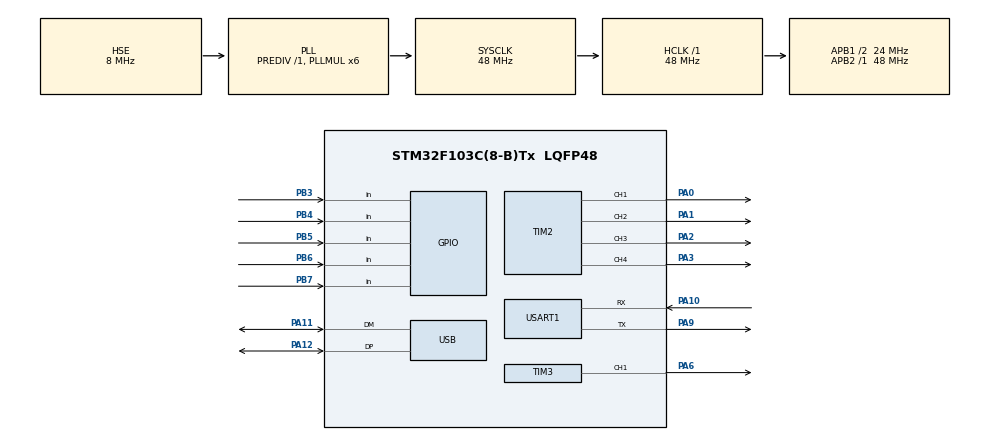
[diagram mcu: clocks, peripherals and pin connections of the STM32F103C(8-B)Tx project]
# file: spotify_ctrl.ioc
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Mcu.Family=STM32F1
Mcu.Name=STM32F103C(8-B)Tx
Mcu.Package=LQFP48
NVIC.PriorityGroup=NVIC_PRIORITYGROUP_4
NVIC.USB_LP_CAN1_RX0_IRQn=true\:0\:0\:false\:false\:true\:false\:true
PA0-WKUP.Signal=S_TIM2_CH1_ETR
PA1.Signal=S_TIM2_CH2
PA10.Mode=Asynchronous
PA10.Signal=USART1_RX
PA11.Mode=Device
PA11.Signal=USB_DM
PA12.Mode=Device
PA12.Signal=USB_DP
PA13.Mode=Serial_Wire
PA13.Signal=SYS_JTMS-SWDIO
PA14.Mode=Serial_Wire
PA14.Signal=SYS_JTCK-SWCLK
PA2.Signal=S_TIM2_CH3
PA3.Signal=S_TIM2_CH4
PA6.Signal=S_TIM3_CH1
PA9.Mode=Asynchronous
PA9.Signal=USART1_TX
PB3.Signal=GPIO_Input
PB4.Signal=GPIO_Input
PB5.Signal=GPIO_Input
PB6.Signal=GPIO_Input
PB7.Signal=GPIO_Input
PC14-OSC32_IN.Mode=LSE-External-Oscillator
PC14-OSC32_IN.Signal=RCC_OSC32_IN
PC15-OSC32_OUT.Mode=LSE-External-Oscillator
PC15-OSC32_OUT.Signal=RCC_OSC32_OUT
PD0-OSC_IN.Mode=HSE-External-Oscillator
PD0-OSC_IN.Signal=RCC_OSC_IN
PD1-OSC_OUT.Mode=HSE-External-Oscillator
PD1-OSC_OUT.Signal=RCC_OSC_OUT
ProjectManager.HeapSize=0x200
ProjectManager.StackSize=0x400
ProjectManager.TargetToolchain=STM32CubeIDE
RCC.AHBFreq_Value=48000000
RCC.APB1CLKDivider=RCC_HCLK_DIV2
RCC.APB1Freq_Value=24000000
RCC.APB1TimFreq_Value=48000000
RCC.APB2Freq_Value=48000000
RCC.APB2TimFreq_Value=48000000
RCC.HCLKFreq_Value=48000000
RCC.PLLMUL=RCC_PLL_MUL6
RCC.SYSCLKFreq_VALUE=48000000
RCC.SYSCLKSource=RCC_SYSCLKSOURCE_PLLCLK
RCC.USBFreq_Value=48000000
SH.S_TIM2_CH1_ETR.0=TIM2_CH1,PWM Generation1 CH1
SH.S_TIM2_CH2.0=TIM2_CH2,PWM Generation2 CH2
SH.S_TIM2_CH3.0=TIM2_CH3,PWM Generation3 CH3
SH.S_TIM2_CH4.0=TIM2_CH4,PWM Generation4 CH4
SH.S_TIM3_CH1.0=TIM3_CH1,PWM Generation1 CH1
TIM2.Channel-PWM\ Generation1\ CH1=TIM_CHANNEL_1
TIM2.Channel-PWM\ Generation2\ CH2=TIM_CHANNEL_2
TIM2.Channel-PWM\ Generation3\ CH3=TIM_CHANNEL_3
TIM2.Channel-PWM\ Generation4\ CH4=TIM_CHANNEL_4
TIM3.Channel-PWM\ Generation1\ CH1=TIM_CHANNEL_1
USART1.VirtualMode=VM_ASYNC
USB_DEVICE.CLASS_NAME_FS=HID
USB_DEVICE.VirtualMode=Hid
USB_DEVICE.VirtualModeFS=Hid_FS
VP_RTC_VS_RTC_Activate.Mode=RTC_Enabled
VP_RTC_VS_RTC_Calendar.Mode=RTC_Calendar
VP_TIM1_VS_ClockSourceINT.Mode=Internal
VP_TIM2_VS_ClockSourceINT.Mode=Internal
VP_USB_DEVICE_VS_USB_DEVICE_HID_FS.Mode=HID_FS
board=custom

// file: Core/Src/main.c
/* USER CODE BEGIN Header */
/**
  ******************************************************************************
  * @file           : main.c
  * @brief          : Main program body
  ******************************************************************************
  * @attention
  *
  * <h2><center>&copy; Copyright (c) 2025 STMicroelectronics.
  * All rights reserved.</center></h2>
  *
  * This software component is licensed by ST under BSD 3-Clause license,
  * the "License"; You may not use this file except in compliance with the
  * License. You may obtain a copy of the License at:
  *                        opensource.org/licenses/BSD-3-Clause
  *
  ******************************************************************************
  */
/* USER CODE END Header */

#include "main.h"
#include "usb_device.h"
#include "usbd_hid.h"
extern USBD_HandleTypeDef hUsbDeviceFS;

/* USER CODE BEGIN PD */
//LED Control
#define NUM_LEDS 5
#define MAX_DUTY 999
#define STEP_DELAY_MS 2
#define PHASE_SHIFT 200

// Pushbutton GPIO
#define BTN_PLAY_PAUSE    GPIO_PIN_3
#define BTN_NEXT          GPIO_PIN_4
#define BTN_PREV          GPIO_PIN_5
#define BTN_VOL_UP        GPIO_PIN_6
#define BTN_VOL_DOWN      GPIO_PIN_7
#define BTN_PORT          GPIOB

// Standard HID control codes
#define HID_PLAY_PAUSE    0x00CD
#define HID_NEXT          0x00B5
#define HID_PREV          0x00B6
#define HID_VOL_UP        0x00E9
#define HID_VOL_DOWN      0x00EA

/* USER CODE END PD */

RTC_HandleTypeDef hrtc;

TIM_HandleTypeDef htim1;
TIM_HandleTypeDef htim2;
TIM_HandleTypeDef htim3;

UART_HandleTypeDef huart1;

void SystemClock_Config(void);
static void MX_GPIO_Init(void);
static void MX_RTC_Init(void);
static void MX_TIM1_Init(void);
static void MX_TIM2_Init(void);
static void MX_TIM3_Init(void);
static void MX_USART1_UART_Init(void);

int main(void)
{

  /* MCU Configuration--------------------------------------------------------*/

  /* Reset of all peripherals, Initializes the Flash interface and the Systick. */
  HAL_Init();

  /* Configure the system clock */
  SystemClock_Config();

  /* Initialize all configured peripherals */
  MX_GPIO_Init();
  MX_RTC_Init();
  MX_TIM1_Init();
  MX_TIM2_Init();
  MX_TIM3_Init();
  MX_USART1_UART_Init();
  MX_USB_DEVICE_Init();
  /* USER CODE BEGIN 2 */

  // Start PWM channels for LEDs
  HAL_TIM_PWM_Start(&htim2, TIM_CHANNEL_1); // PA0
  HAL_TIM_PWM_Start(&htim2, TIM_CHANNEL_2); // PA1
  HAL_TIM_PWM_Start(&htim2, TIM_CHANNEL_3); // PA2
  HAL_TIM_PWM_Start(&htim2, TIM_CHANNEL_4); // PA3
  HAL_TIM_PWM_Start(&htim3, TIM_CHANNEL_1); // PA6

  uint16_t fade_counter = 0;

  /* USER CODE END 2 */
  /* Infinite loop */
  while (1)
  {
    // Check all pushbuttons
    if (HAL_GPIO_ReadPin(BTN_PORT, BTN_PLAY_PAUSE))
        SendMediaKey(HID_PLAY_PAUSE);
    if (HAL_GPIO_ReadPin(BTN_PORT, BTN_NEXT))
        SendMediaKey(HID_NEXT);
    if (HAL_GPIO_ReadPin(BTN_PORT, BTN_PREV))
        SendMediaKey(HID_PREV);
    if (HAL_GPIO_ReadPin(BTN_PORT, BTN_VOL_UP))
        SendMediaKey(HID_VOL_UP);
    if (HAL_GPIO_ReadPin(BTN_PORT, BTN_VOL_DOWN))
        SendMediaKey(HID_VOL_DOWN);

    // TODO: Move LED pattern handling into separate function.
	  for (int i = 0; i < NUM_LEDS; i++)
	      {
	          // Calculate LED's individual phase-shifted fade step
	          uint16_t phase = (fade_counter + i * PHASE_SHIFT) % (2 * MAX_DUTY);
	          uint16_t duty;

	          if (phase <= MAX_DUTY)
	              duty = phase;
	          else
	              duty = 2 * MAX_DUTY - phase;

	          // Apply to corresponding PWM channel
	          switch (i)
	          {
	              case 0: __HAL_TIM_SET_COMPARE(&htim2, TIM_CHANNEL_1, duty); break; // PA0
	              case 1: __HAL_TIM_SET_COMPARE(&htim2, TIM_CHANNEL_2, duty); break; // PA1
	              case 2: __HAL_TIM_SET_COMPARE(&htim2, TIM_CHANNEL_3, duty); break; // PA2
	              case 3: __HAL_TIM_SET_COMPARE(&htim2, TIM_CHANNEL_4, duty); break; // PA3
	              case 4: __HAL_TIM_SET_COMPARE(&htim3, TIM_CHANNEL_1, duty); break; // PA6
	          }
	      }

	      fade_counter = (fade_counter + 1) % (2 * MAX_DUTY); // Loop the counter
	      HAL_Delay(STEP_DELAY_MS); // Controls wave speed
  }
}

void SendMediaKey(uint16_t keycode)
{
    uint8_t report[2];
    report[0] = keycode & 0xFF;
    report[1] = (keycode >> 8) & 0xFF;

    USBD_HID_SendReport(&hUsbDeviceFS, report, sizeof(report));
    HAL_Delay(10); // Small delay
    uint8_t release[2] = {0, 0};
    USBD_HID_SendReport(&hUsbDeviceFS, release, sizeof(release));
}

void SystemClock_Config(void)
{
  RCC_OscInitTypeDef RCC_OscInitStruct = {0};
  RCC_ClkInitTypeDef RCC_ClkInitStruct = {0};
  RCC_PeriphCLKInitTypeDef PeriphClkInit = {0};

  /** Initializes the CPU, AHB and APB busses clocks
  */
  RCC_OscInitStruct.OscillatorType = RCC_OSCILLATORTYPE_LSI|RCC_OSCILLATORTYPE_HSE;
  RCC_OscInitStruct.HSEState = RCC_HSE_ON;
  RCC_OscInitStruct.HSEPredivValue = RCC_HSE_PREDIV_DIV1;
  RCC_OscInitStruct.HSIState = RCC_HSI_ON;
  RCC_OscInitStruct.LSIState = RCC_LSI_ON;
  RCC_OscInitStruct.PLL.PLLState = RCC_PLL_ON;
  RCC_OscInitStruct.PLL.PLLSource = RCC_PLLSOURCE_HSE;
  RCC_OscInitStruct.PLL.PLLMUL = RCC_PLL_MUL6;
  if (HAL_RCC_OscConfig(&RCC_OscInitStruct) != HAL_OK)
  {
    Error_Handler();
  }
  /** Initializes the CPU, AHB and APB busses clocks
  */
  RCC_ClkInitStruct.ClockType = RCC_CLOCKTYPE_HCLK|RCC_CLOCKTYPE_SYSCLK
                              |RCC_CLOCKTYPE_PCLK1|RCC_CLOCKTYPE_PCLK2;
  RCC_ClkInitStruct.SYSCLKSource = RCC_SYSCLKSOURCE_PLLCLK;
  RCC_ClkInitStruct.AHBCLKDivider = RCC_SYSCLK_DIV1;
  RCC_ClkInitStruct.APB1CLKDivider = RCC_HCLK_DIV2;
  RCC_ClkInitStruct.APB2CLKDivider = RCC_HCLK_DIV1;

  if (HAL_RCC_ClockConfig(&RCC_ClkInitStruct, FLASH_LATENCY_1) != HAL_OK)
  {
    Error_Handler();
  }
  PeriphClkInit.PeriphClockSelection = RCC_PERIPHCLK_RTC|RCC_PERIPHCLK_USB;
  PeriphClkInit.RTCClockSelection = RCC_RTCCLKSOURCE_LSI;
  PeriphClkInit.UsbClockSelection = RCC_USBCLKSOURCE_PLL;
  if (HAL_RCCEx_PeriphCLKConfig(&PeriphClkInit) != HAL_OK)
  {
    Error_Handler();
  }
}

static void MX_RTC_Init(void)
{

  RTC_TimeTypeDef sTime = {0};
  RTC_DateTypeDef DateToUpdate = {0};

  /** Initialize RTC Only
  */
  hrtc.Instance = RTC;
  hrtc.Init.AsynchPrediv = RTC_AUTO_1_SECOND;
  hrtc.Init.OutPut = RTC_OUTPUTSOURCE_ALARM;
  if (HAL_RTC_Init(&hrtc) != HAL_OK)
  {
    Error_Handler();
  }

  /** Initialize RTC and set the Time and Date
  */
  sTime.Hours = 0x0;
  sTime.Minutes = 0x0;
  sTime.Seconds = 0x0;

  if (HAL_RTC_SetTime(&hrtc, &sTime, RTC_FORMAT_BCD) != HAL_OK)
  {
    Error_Handler();
  }
  DateToUpdate.WeekDay = RTC_WEEKDAY_MONDAY;
  DateToUpdate.Month = RTC_MONTH_JANUARY;
  DateToUpdate.Date = 0x1;
  DateToUpdate.Year = 0x0;

  if (HAL_RTC_SetDate(&hrtc, &DateToUpdate, RTC_FORMAT_BCD) != HAL_OK)
  {
    Error_Handler();
  }

}

static void MX_TIM1_Init(void)
{

  TIM_ClockConfigTypeDef sClockSourceConfig = {0};
  TIM_MasterConfigTypeDef sMasterConfig = {0};

  htim1.Instance = TIM1;
  htim1.Init.Prescaler = 0;
  htim1.Init.CounterMode = TIM_COUNTERMODE_UP;
  htim1.Init.Period = 0;
  htim1.Init.ClockDivision = TIM_CLOCKDIVISION_DIV1;
  htim1.Init.RepetitionCounter = 0;
  htim1.Init.AutoReloadPreload = TIM_AUTORELOAD_PRELOAD_DISABLE;
  if (HAL_TIM_Base_Init(&htim1) != HAL_OK)
  {
    Error_Handler();
  }
  sClockSourceConfig.ClockSource = TIM_CLOCKSOURCE_INTERNAL;
  if (HAL_TIM_ConfigClockSource(&htim1, &sClockSourceConfig) != HAL_OK)
  {
    Error_Handler();
  }
  sMasterConfig.MasterOutputTrigger = TIM_TRGO_RESET;
  sMasterConfig.MasterSlaveMode = TIM_MASTERSLAVEMODE_DISABLE;
  if (HAL_TIMEx_MasterConfigSynchronization(&htim1, &sMasterConfig) != HAL_OK)
  {
    Error_Handler();
  }

}

static void MX_TIM2_Init(void)
{

  TIM_ClockConfigTypeDef sClockSourceConfig = {0};
  TIM_MasterConfigTypeDef sMasterConfig = {0};
  TIM_OC_InitTypeDef sConfigOC = {0};

  htim2.Instance = TIM2;
  htim2.Init.Prescaler = 47;
  htim2.Init.CounterMode = TIM_COUNTERMODE_UP;
  htim2.Init.Period = 999;
  htim2.Init.ClockDivision = TIM_CLOCKDIVISION_DIV1;
  htim2.Init.AutoReloadPreload = TIM_AUTORELOAD_PRELOAD_DISABLE;
  if (HAL_TIM_Base_Init(&htim2) != HAL_OK)
  {
    Error_Handler();
  }
  sClockSourceConfig.ClockSource = TIM_CLOCKSOURCE_INTERNAL;
  if (HAL_TIM_ConfigClockSource(&htim2, &sClockSourceConfig) != HAL_OK)
  {
    Error_Handler();
  }
  if (HAL_TIM_PWM_Init(&htim2) != HAL_OK)
  {
    Error_Handler();
  }
  sMasterConfig.MasterOutputTrigger = TIM_TRGO_RESET;
  sMasterConfig.MasterSlaveMode = TIM_MASTERSLAVEMODE_DISABLE;
  if (HAL_TIMEx_MasterConfigSynchronization(&htim2, &sMasterConfig) != HAL_OK)
  {
    Error_Handler();
  }
  sConfigOC.OCMode = TIM_OCMODE_PWM1;
  sConfigOC.Pulse = 500;
  sConfigOC.OCPolarity = TIM_OCPOLARITY_HIGH;
  sConfigOC.OCFastMode = TIM_OCFAST_DISABLE;
  if (HAL_TIM_PWM_ConfigChannel(&htim2, &sConfigOC, TIM_CHANNEL_1) != HAL_OK)
  {
    Error_Handler();
  }
  if (HAL_TIM_PWM_ConfigChannel(&htim2, &sConfigOC, TIM_CHANNEL_2) != HAL_OK)
  {
    Error_Handler();
  }
  if (HAL_TIM_PWM_ConfigChannel(&htim2, &sConfigOC, TIM_CHANNEL_3) != HAL_OK)
  {
    Error_Handler();
  }
  if (HAL_TIM_PWM_ConfigChannel(&htim2, &sConfigOC, TIM_CHANNEL_4) != HAL_OK)
  {
    Error_Handler();
  }
  HAL_TIM_MspPostInit(&htim2);

}

static void MX_TIM3_Init(void)
{

  TIM_MasterConfigTypeDef sMasterConfig = {0};
  TIM_OC_InitTypeDef sConfigOC = {0};

  htim3.Instance = TIM3;
  htim3.Init.Prescaler = 47;
  htim3.Init.CounterMode = TIM_COUNTERMODE_UP;
  htim3.Init.Period = 999;
  htim3.Init.ClockDivision = TIM_CLOCKDIVISION_DIV1;
  htim3.Init.AutoReloadPreload = TIM_AUTORELOAD_PRELOAD_DISABLE;
  if (HAL_TIM_PWM_Init(&htim3) != HAL_OK)
  {
    Error_Handler();
  }
  sMasterConfig.MasterOutputTrigger = TIM_TRGO_RESET;
  sMasterConfig.MasterSlaveMode = TIM_MASTERSLAVEMODE_DISABLE;
  if (HAL_TIMEx_MasterConfigSynchronization(&htim3, &sMasterConfig) != HAL_OK)
  {
    Error_Handler();
  }
  sConfigOC.OCMode = TIM_OCMODE_PWM1;
  sConfigOC.Pulse = 500;
  sConfigOC.OCPolarity = TIM_OCPOLARITY_HIGH;
  sConfigOC.OCFastMode = TIM_OCFAST_DISABLE;
  if (HAL_TIM_PWM_ConfigChannel(&htim3, &sConfigOC, TIM_CHANNEL_1) != HAL_OK)
  {
    Error_Handler();
  }
  HAL_TIM_MspPostInit(&htim3);

}

// TODO: Add later if needed
static void MX_USART1_UART_Init(void)
{

  huart1.Instance = USART1;
  huart1.Init.BaudRate = 115200;
  huart1.Init.WordLength = UART_WORDLENGTH_8B;
  huart1.Init.StopBits = UART_STOPBITS_1;
  huart1.Init.Parity = UART_PARITY_NONE;
  huart1.Init.Mode = UART_MODE_TX_RX;
  huart1.Init.HwFlowCtl = UART_HWCONTROL_NONE;
  huart1.Init.OverSampling = UART_OVERSAMPLING_16;
  if (HAL_UART_Init(&huart1) != HAL_OK)
  {
    Error_Handler();
  }

}

static void MX_GPIO_Init(void)
{
  GPIO_InitTypeDef GPIO_InitStruct = {0};

  /* GPIO Ports Clock Enable */
  __HAL_RCC_GPIOC_CLK_ENABLE();
  __HAL_RCC_GPIOD_CLK_ENABLE();
  __HAL_RCC_GPIOA_CLK_ENABLE();
  __HAL_RCC_GPIOB_CLK_ENABLE();

  /*Configure GPIO pins : PB3 PB4 PB5 PB6
                           PB7 */
  //GPIO_InitStruct.Pin = GPIO_PIN_3|GPIO_PIN_4|GPIO_PIN_5|GPIO_PIN_6
  //                       |GPIO_PIN_7;
  //GPIO_InitStruct.Mode = GPIO_MODE_INPUT;
  //GPIO_InitStruct.Pull = GPIO_NOPULL;
  //HAL_GPIO_Init(GPIOB, &GPIO_InitStruct);

}

void Error_Handler(void)
{
}

/************************ (C) COPYRIGHT STMicroelectronics *****END OF FILE****/
